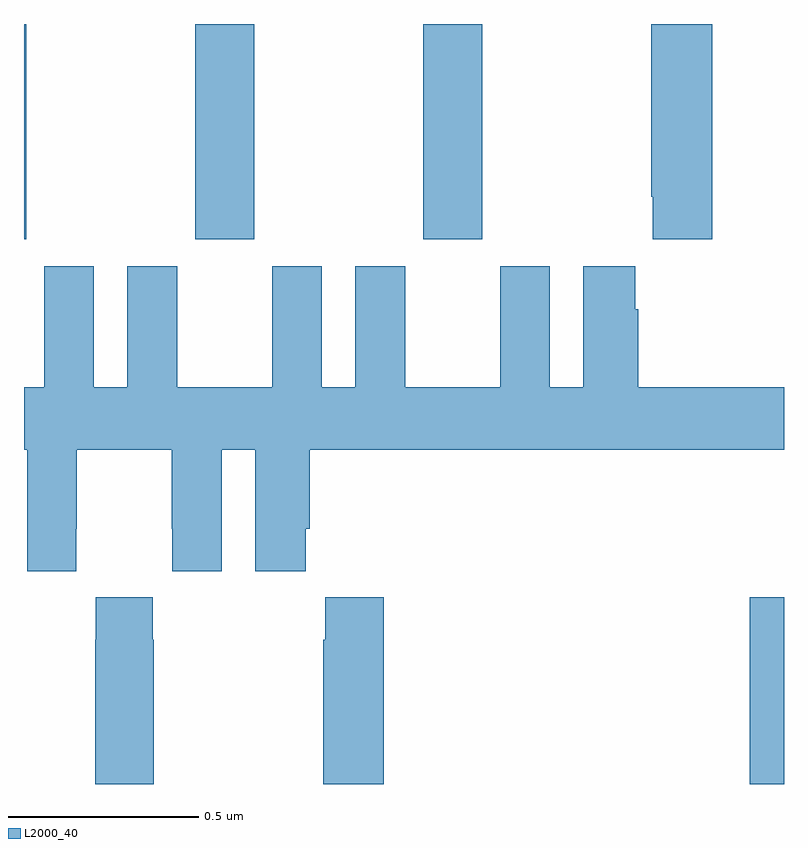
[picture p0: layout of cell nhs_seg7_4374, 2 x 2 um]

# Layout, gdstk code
import gdstk
lib = gdstk.Library(unit=1e-6, precision=1e-09)
def R(c, l, rs):  # rectangles x0, y0, x1, y1
    for r in rs: c.add(gdstk.rectangle(r[:2], r[2:], *l))
def P(c, l, *ps):  # polygons
    for p in ps: c.add(gdstk.Polygon(p, *l))
L2000_40 = (2000, 40)

nhs_seg7_4374 = lib.new_cell('nhs_seg7_4374')
R(nhs_seg7_4374, L2000_40, [(172.91,1069,173,1069.492), (171,1070.433,171.006,1071), (171.451,1070.433,171.606,1071), (172.051,1070.433,172.206,1071)])
P(nhs_seg7_4374, L2000_40, [(172.811,1071),(172.651,1071),(172.651,1070.545),(172.655,1070.545),(172.655,1070.433),(172.811,1070.433)],
  [(171.138,1069.672),(171.139,1069.672),(171.139,1069.88),(171.389,1069.88),(171.389,1069.672),(171.39,1069.672),(171.39,1069.56),(171.52,1069.56),(171.52,1069.88),(171.608,1069.88),(171.608,1069.56),(171.742,1069.56),(171.742,1069.672),(171.752,1069.672),(171.752,1069.88),(173,1069.88),(173,1070.044),(172.616,1070.044),(172.616,1070.249),(172.609,1070.249),(172.609,1070.362),(172.472,1070.362),(172.472,1070.044),(172.384,1070.044),(172.384,1070.362),(172.253,1070.362),(172.253,1070.044),(172.003,1070.044),(172.003,1070.362),(171.872,1070.362),(171.872,1070.044),(171.784,1070.044),(171.784,1070.362),(171.653,1070.362),(171.653,1070.044),(171.403,1070.044),(171.403,1070.362),(171.272,1070.362),(171.272,1070.044),(171.184,1070.044),(171.184,1070.362),(171.053,1070.362),(171.053,1070.044),(171,1070.044),(171,1069.88),(171.008,1069.88),(171.008,1069.56),(171.138,1069.56)],
  [(171.342,1069.379),(171.339,1069.379),(171.339,1069.492),(171.189,1069.492),(171.189,1069.379),(171.187,1069.379),(171.187,1069),(171.342,1069)],
  [(171.947,1069.492),(171.793,1069.492),(171.793,1069.379),(171.787,1069.379),(171.787,1069),(171.947,1069)])

lib.write_gds('nhs_seg7_4374.gds')
